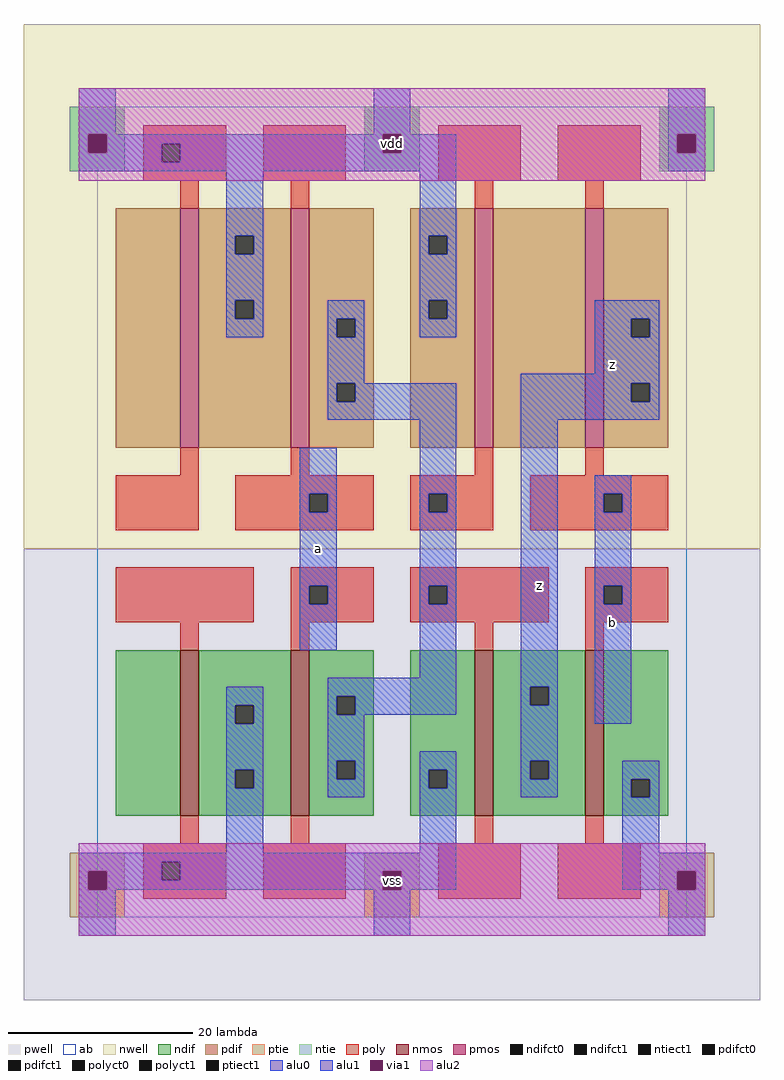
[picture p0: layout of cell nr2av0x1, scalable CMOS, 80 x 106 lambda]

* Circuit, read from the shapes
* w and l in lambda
.subckt nr2av0x1 a b vdd vss z
M1 vss vss n1 vss nfet w=18 l=2
M2 n2 a vss vss nfet w=18 l=2
M3 z n2 vss vss nfet w=18 l=2
M4 vss b z vss nfet w=18 l=2
M5 vdd vdd n3 vdd pfet w=26 l=2
M6 n2 a vdd vdd pfet w=26 l=2
M7 n4 n2 vdd vdd pfet w=26 l=2
M8 z b n4 vdd pfet w=26 l=2
.ends

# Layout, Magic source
magic
tech scmos
<< ab >>
rect 0 0 64 88
<< nwell >>
rect -8 40 72 97
<< pwell >>
rect -8 -9 72 40
<< poly >>
rect 5 84 14 86
rect 5 82 7 84
rect 9 82 14 84
rect 5 80 14 82
rect 18 80 27 86
rect 37 80 46 86
rect 50 80 59 86
rect 9 77 11 80
rect 21 77 23 80
rect 41 77 43 80
rect 53 77 55 80
rect 9 48 11 51
rect 21 48 23 51
rect 41 48 43 51
rect 53 48 55 51
rect 2 42 11 48
rect 15 46 30 48
rect 15 44 23 46
rect 25 44 30 46
rect 15 42 30 44
rect 34 46 43 48
rect 34 44 36 46
rect 38 44 43 46
rect 34 42 43 44
rect 47 46 62 48
rect 47 44 55 46
rect 57 44 62 46
rect 47 42 62 44
rect 2 32 17 38
rect 21 36 30 38
rect 21 34 23 36
rect 25 34 30 36
rect 21 32 30 34
rect 34 36 49 38
rect 34 34 36 36
rect 38 34 49 36
rect 34 32 49 34
rect 53 36 62 38
rect 53 34 55 36
rect 57 34 62 36
rect 53 32 62 34
rect 9 29 11 32
rect 21 29 23 32
rect 41 29 43 32
rect 53 29 55 32
rect 9 8 11 11
rect 21 8 23 11
rect 41 8 43 11
rect 53 8 55 11
rect 5 6 14 8
rect 5 4 7 6
rect 9 4 14 6
rect 5 2 14 4
rect 18 2 27 8
rect 37 2 46 8
rect 50 2 59 8
<< ndif >>
rect 2 11 9 29
rect 11 23 21 29
rect 11 21 15 23
rect 17 21 21 23
rect 11 16 21 21
rect 11 14 15 16
rect 17 14 21 16
rect 11 11 21 14
rect 23 24 30 29
rect 23 22 26 24
rect 28 22 30 24
rect 23 17 30 22
rect 23 15 26 17
rect 28 15 30 17
rect 23 11 30 15
rect 34 16 41 29
rect 34 14 36 16
rect 38 14 41 16
rect 34 11 41 14
rect 43 25 53 29
rect 43 23 47 25
rect 49 23 53 25
rect 43 17 53 23
rect 43 15 47 17
rect 49 15 53 17
rect 43 11 53 15
rect 55 15 62 29
rect 55 13 58 15
rect 60 13 62 15
rect 55 11 62 13
<< pdif >>
rect 2 51 9 77
rect 11 74 21 77
rect 11 72 15 74
rect 17 72 21 74
rect 11 67 21 72
rect 11 65 15 67
rect 17 65 21 67
rect 11 51 21 65
rect 23 65 30 77
rect 23 63 26 65
rect 28 63 30 65
rect 23 58 30 63
rect 23 56 26 58
rect 28 56 30 58
rect 23 51 30 56
rect 34 74 41 77
rect 34 72 36 74
rect 38 72 41 74
rect 34 67 41 72
rect 34 65 36 67
rect 38 65 41 67
rect 34 51 41 65
rect 43 51 53 77
rect 55 65 62 77
rect 55 63 58 65
rect 60 63 62 65
rect 55 58 62 63
rect 55 56 58 58
rect 60 56 62 58
rect 55 51 62 56
<< alu1 >>
rect -2 85 2 90
rect 30 85 34 90
rect 62 85 66 90
rect -2 83 -1 85
rect 1 84 31 85
rect 1 83 7 84
rect -2 82 7 83
rect 9 83 31 84
rect 33 83 39 85
rect 9 82 39 83
rect -2 81 39 82
rect 62 83 63 85
rect 65 83 66 85
rect 62 81 66 83
rect 14 74 18 81
rect 14 72 15 74
rect 17 72 18 74
rect 14 67 18 72
rect 35 74 39 81
rect 35 72 36 74
rect 38 72 39 74
rect 35 67 39 72
rect 14 65 15 67
rect 17 65 18 67
rect 14 63 18 65
rect 35 65 36 67
rect 38 65 39 67
rect 35 63 39 65
rect 54 65 61 67
rect 54 63 58 65
rect 60 63 61 65
rect 54 59 61 63
rect 46 58 61 59
rect 22 46 26 51
rect 22 44 23 46
rect 25 44 26 46
rect 22 36 26 44
rect 22 34 23 36
rect 25 34 26 36
rect 22 29 26 34
rect 14 23 18 25
rect 14 21 15 23
rect 17 21 18 23
rect 14 16 18 21
rect 14 14 15 16
rect 17 14 18 16
rect 14 7 18 14
rect 46 56 58 58
rect 60 56 61 58
rect 46 54 61 56
rect 46 25 50 54
rect 46 23 47 25
rect 49 23 50 25
rect 35 16 39 18
rect 35 14 36 16
rect 38 14 39 16
rect 35 7 39 14
rect 46 17 50 23
rect 54 46 58 48
rect 54 44 55 46
rect 57 44 58 46
rect 54 36 58 44
rect 54 34 55 36
rect 57 34 58 36
rect 54 21 58 34
rect 46 15 47 17
rect 49 15 50 17
rect 46 13 50 15
rect 57 15 61 17
rect 57 13 58 15
rect 60 13 61 15
rect -2 6 39 7
rect -2 5 7 6
rect -2 3 -1 5
rect 1 4 7 5
rect 9 5 39 6
rect 9 4 31 5
rect 1 3 31 4
rect 33 3 39 5
rect 57 7 61 13
rect 57 5 66 7
rect 57 3 63 5
rect 65 3 66 5
rect -2 -2 2 3
rect 30 -2 34 3
rect 62 -2 66 3
<< alu2 >>
rect -2 85 66 90
rect -2 83 -1 85
rect 1 83 31 85
rect 33 83 63 85
rect 65 83 66 85
rect -2 80 66 83
rect -2 5 66 8
rect -2 3 -1 5
rect 1 3 31 5
rect 33 3 63 5
rect 65 3 66 5
rect -2 -2 66 3
<< ptie >>
rect -3 5 3 7
rect -3 3 -1 5
rect 1 3 3 5
rect -3 0 3 3
rect 29 5 35 7
rect 29 3 31 5
rect 33 3 35 5
rect 29 0 35 3
rect 61 5 67 7
rect 61 3 63 5
rect 65 3 67 5
rect 61 0 67 3
<< ntie >>
rect -3 85 3 88
rect -3 83 -1 85
rect 1 83 3 85
rect -3 81 3 83
rect 29 85 35 88
rect 29 83 31 85
rect 33 83 35 85
rect 29 81 35 83
rect 61 85 67 88
rect 61 83 63 85
rect 65 83 67 85
rect 61 81 67 83
<< nmos >>
rect 9 11 11 29
rect 21 11 23 29
rect 41 11 43 29
rect 53 11 55 29
<< pmos >>
rect 9 51 11 77
rect 21 51 23 77
rect 41 51 43 77
rect 53 51 55 77
<< polyct0 >>
rect 36 44 38 46
rect 36 34 38 36
<< polyct1 >>
rect 7 82 9 84
rect 23 44 25 46
rect 55 44 57 46
rect 23 34 25 36
rect 55 34 57 36
rect 7 4 9 6
<< ndifct0 >>
rect 26 22 28 24
rect 26 15 28 17
<< ndifct1 >>
rect 15 21 17 23
rect 15 14 17 16
rect 36 14 38 16
rect 47 23 49 25
rect 47 15 49 17
rect 58 13 60 15
<< ntiect1 >>
rect -1 83 1 85
rect 31 83 33 85
rect 63 83 65 85
<< ptiect1 >>
rect -1 3 1 5
rect 31 3 33 5
rect 63 3 65 5
<< pdifct0 >>
rect 26 63 28 65
rect 26 56 28 58
<< pdifct1 >>
rect 15 72 17 74
rect 15 65 17 67
rect 36 72 38 74
rect 36 65 38 67
rect 58 63 60 65
rect 58 56 60 58
<< alu0 >>
rect 25 65 29 67
rect 25 63 26 65
rect 28 63 29 65
rect 25 58 29 63
rect 25 56 26 58
rect 28 56 39 58
rect 25 54 39 56
rect 35 46 39 54
rect 35 44 36 46
rect 38 44 39 46
rect 35 36 39 44
rect 35 34 36 36
rect 38 34 39 36
rect 35 26 39 34
rect 25 24 39 26
rect 25 22 26 24
rect 28 22 39 24
rect 25 17 29 22
rect 25 15 26 17
rect 28 15 29 17
rect 25 13 29 15
<< via1 >>
rect -1 83 1 85
rect 31 83 33 85
rect 63 83 65 85
rect -1 3 1 5
rect 31 3 33 5
rect 63 3 65 5
<< labels >>
rlabel alu1 24 40 24 40 6 a
rlabel alu1 48 36 48 36 6 z
rlabel alu1 56 32 56 32 6 b
rlabel alu1 56 60 56 60 6 z
rlabel via1 32 4 32 4 6 vss
rlabel via1 32 84 32 84 6 vdd
<< end >>
